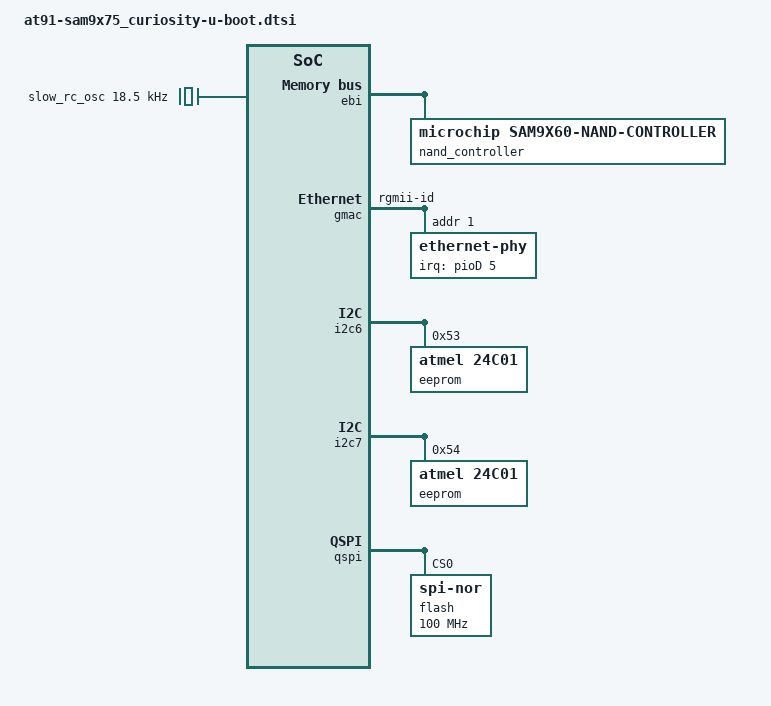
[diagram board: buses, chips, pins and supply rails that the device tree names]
// SPDX-License-Identifier: (GPL-2.0+ OR MIT)
/*
 * at91-sam9x75_curiosity-u-boot.dtsi - Device Tree file for SAM9X75
 * CURIOSITY board.
 *
 * Copyright (C) 2025 Microchip Technology Inc. and its subsidiaries
 *
 * Author: Manikandan Muralidharan <manikandan.m@microchip.com>
 */

/ {
	cpus {
		cpu@0 {
			clocks = <&pmc PMC_TYPE_CORE 25>, <&pmc PMC_TYPE_CORE 17>, <&main_xtal>;
			clock-names = "cpu", "master", "xtal";
		};
	};

	clocks {
		slow_rc_osc: slow_rc_osc {
			compatible = "fixed-clock";
			#clock-cells = <0>;
			clock-frequency = <18500>;
		};
	};

	ahb {
		bootph-all;

		ebi: ebi@10000000 {
			compatible = "microchip,sam9x60-ebi";
			#address-cells = <2>;
			#size-cells = <1>;
			atmel,smc = <&smc>;
			microchip,sfr = <&sfr>;
			reg = <0x10000000 0x60000000>;
			ranges = <0x0 0x0 0x10000000 0x10000000
			0x1 0x0 0x20000000 0x10000000
			0x2 0x0 0x30000000 0x10000000>;
			clocks = <&pmc PMC_TYPE_CORE 17>;
			pinctrl-names = "default";
			pinctrl-0 = <&pinctrl_ebi_addr_nand &pinctrl_ebi_data_0_7>;
			status = "okay";

			nand_controller: nand-controller {
				compatible = "microchip,sam9x60-nand-controller";
				ecc-engine = <&pmecc>;
				#address-cells = <2>;
				#size-cells = <1>;
				ranges;
				pinctrl-names = "default";
				pinctrl-0 = <&pinctrl_nand_oe_we &pinctrl_nand_cs &pinctrl_nand_rb>;
				status = "okay";

				nand@2 {
					reg = <0x2 0x0 0x800000>;
					rb-gpios = <&pioD 14 GPIO_ACTIVE_HIGH>;
					cs-gpios = <&pioD 4 GPIO_ACTIVE_HIGH>;
					nand-bus-width = <8>;
					nand-ecc-mode = "hw";
					nand-ecc-strength = <8>;
					nand-ecc-step-size = <512>;
					nand-on-flash-bbt;
					label = "atmel_nand";
				};
			};
		};
	};

	apb {
		bootph-all;

		pinctrl {
			bootph-all;
		};

		sfr: sfr@f8050000 {
			compatible = "microchip,sam9x60-sfr", "syscon";
			reg = <0xf8050000 0x100>;
		};
	};

	chosen {
		bootph-all;
	};
};

&clk32k {
	bootph-all;
	clocks = <&slow_rc_osc>, <&slow_xtal>;
};

&dbgu {
	bootph-all;
};

&gmac {
	compatible = "microchip,sam9x7-gem", "cdns,sama7g5-gem";
	phy-mode = "rgmii-id";
	#address-cells = <1>;
	#size-cells = <0>;
	pinctrl-names = "default";
	pinctrl-0 = <&pinctrl_gmac_rgmii_default>;
	magic-packet;
	status = "okay";

	ethernet-phy@1 {
		reg = <0x1>;
		interrupt-parent = <&pioD>;
		interrupts = <5 IRQ_TYPE_LEVEL_LOW>;
	};
};

&i2c6 {
	eeprom@53 {
		compatible = "atmel,24c01";
		reg = <0x53>;
		pagesize = <8>;
		status = "okay";
	};
};

&i2c7 {
	eeprom@54 {
		compatible = "atmel,24c01";
		reg = <0x54>;
		pagesize = <8>;
		status = "okay";
	};
};

&main_xtal {
	bootph-all;
};

&pinctrl {
	ebi {
		pinctrl_ebi_data_0_7: ebi-data-lsb-0 {
			atmel,pins =
				<AT91_PIOD 6 AT91_PERIPH_A (AT91_PINCTRL_NONE | AT91_PINCTRL_SLEWRATE_DIS)
				AT91_PIOD 7 AT91_PERIPH_A (AT91_PINCTRL_NONE | AT91_PINCTRL_SLEWRATE_DIS)
				AT91_PIOD 8 AT91_PERIPH_A (AT91_PINCTRL_NONE | AT91_PINCTRL_SLEWRATE_DIS)
				AT91_PIOD 9 AT91_PERIPH_A (AT91_PINCTRL_NONE | AT91_PINCTRL_SLEWRATE_DIS)
				AT91_PIOD 10 AT91_PERIPH_A (AT91_PINCTRL_NONE | AT91_PINCTRL_SLEWRATE_DIS)
				AT91_PIOD 11 AT91_PERIPH_A (AT91_PINCTRL_NONE | AT91_PINCTRL_SLEWRATE_DIS)
				AT91_PIOD 12 AT91_PERIPH_A (AT91_PINCTRL_NONE | AT91_PINCTRL_SLEWRATE_DIS)
				AT91_PIOD 13 AT91_PERIPH_A (AT91_PINCTRL_NONE | AT91_PINCTRL_SLEWRATE_DIS)>;
		};

		pinctrl_ebi_addr_nand: ebi-addr-0 {
			atmel,pins =
				<AT91_PIOD 2 AT91_PERIPH_A (AT91_PINCTRL_NONE | AT91_PINCTRL_SLEWRATE_DIS)
				AT91_PIOD 3 AT91_PERIPH_A (AT91_PINCTRL_NONE | AT91_PINCTRL_SLEWRATE_DIS)>;
		};
	};

	gmac {
		pinctrl_gmac_rgmii_default: gmac-rgmii-default {
			atmel,pins =
				<AT91_PIOB 13 AT91_PERIPH_A  AT91_PINCTRL_SLEWRATE_DIS                          /* ETH_TX0   */
				 AT91_PIOB 14 AT91_PERIPH_A  AT91_PINCTRL_SLEWRATE_DIS                          /* ETH_TX1   */
				 AT91_PIOB 4  AT91_PERIPH_A  AT91_PINCTRL_SLEWRATE_DIS                          /* ETH_TX2   */
				 AT91_PIOB 5  AT91_PERIPH_A  AT91_PINCTRL_SLEWRATE_DIS                          /* ETH_TX3   */
				 AT91_PIOB 7  AT91_PERIPH_A  AT91_PINCTRL_SLEWRATE_DIS                          /* ETH_TXCTL  */
				 AT91_PIOB 6  AT91_PERIPH_A (AT91_PINCTRL_PULL_UP | AT91_PINCTRL_SLEWRATE_DIS)  /* ETH_TXCK  */

				 AT91_PIOB 11 AT91_PERIPH_A  AT91_PINCTRL_SLEWRATE_DIS                          /* ETH_RX0   */
				 AT91_PIOB 12 AT91_PERIPH_A  AT91_PINCTRL_SLEWRATE_DIS                          /* ETH_RX1   */
				 AT91_PIOB 0  AT91_PERIPH_A  AT91_PINCTRL_SLEWRATE_DIS                          /* ETH_RX2   */
				 AT91_PIOB 1  AT91_PERIPH_A  AT91_PINCTRL_SLEWRATE_DIS                          /* ETH_RX3   */
				 AT91_PIOB 8  AT91_PERIPH_A  AT91_PINCTRL_SLEWRATE_DIS                          /* ETH_RXCK   */
				 AT91_PIOB 3  AT91_PERIPH_A  AT91_PINCTRL_SLEWRATE_DIS                          /* ETH_RXCTL */

				 AT91_PIOB 10 AT91_PERIPH_A  AT91_PINCTRL_NONE                                  /* ETH_MDC   */
				 AT91_PIOB 9  AT91_PERIPH_A  AT91_PINCTRL_NONE                                  /* ETH_MDIO  */

				 AT91_PIOB 2  AT91_PERIPH_A  AT91_PINCTRL_SLEWRATE_DIS                          /* ETH_125CK */
				 AT91_PIOD 5  AT91_PERIPH_GPIO  AT91_PINCTRL_NONE>;                             /* ETH_INT   */
		};
	};

	nand {
		pinctrl_nand_oe_we: nand-oe-we-0 {
			atmel,pins =
				<AT91_PIOD 0 AT91_PERIPH_A (AT91_PINCTRL_NONE | AT91_PINCTRL_SLEWRATE_DIS)
				 AT91_PIOD 1 AT91_PERIPH_A (AT91_PINCTRL_NONE | AT91_PINCTRL_SLEWRATE_DIS)>;
		};

		pinctrl_nand_rb: nand-rb-0 {
			atmel,pins =
				<AT91_PIOD 14 AT91_PERIPH_GPIO AT91_PINCTRL_PULL_UP>;
		};

		pinctrl_nand_cs: nand-cs-0 {
			atmel,pins =
				<AT91_PIOD 4 AT91_PERIPH_GPIO AT91_PINCTRL_PULL_UP>;
		};
	};

	qspi {
		pinctrl_qspi: pinctrl-qspi {
			atmel,pins =
				<AT91_PIOB 19 AT91_PERIPH_A AT91_PINCTRL_SLEWRATE_DIS
				 AT91_PIOB 20 AT91_PERIPH_A AT91_PINCTRL_SLEWRATE_DIS
				 AT91_PIOB 21 AT91_PERIPH_A (AT91_PINCTRL_PULL_UP | AT91_PINCTRL_SLEWRATE_DIS)
				 AT91_PIOB 22 AT91_PERIPH_A (AT91_PINCTRL_PULL_UP | AT91_PINCTRL_SLEWRATE_DIS)
				 AT91_PIOB 23 AT91_PERIPH_A (AT91_PINCTRL_PULL_UP | AT91_PINCTRL_SLEWRATE_DIS)
				 AT91_PIOB 24 AT91_PERIPH_A (AT91_PINCTRL_PULL_UP | AT91_PINCTRL_SLEWRATE_DIS)>;
		};
	};
};

&pinctrl_dbgu_default {
	bootph-all;
};

&pinctrl_sdmmc0_default {
	bootph-all;
};

&pioA {
	bootph-all;
};

&pioB {
	bootph-all;
};

&pit64b0 {
	bootph-all;
};

&pmc {
	bootph-all;
};

&pmecc {
	clocks = <&pmc PMC_TYPE_PERIPHERAL 48>;
};

&qspi {
	pinctrl-names = "default";
	pinctrl-0 = <&pinctrl_qspi>;
	status = "okay";

	flash@0 {
		#address-cells = <1>;
		#size-cells = <1>;
		compatible = "jedec,spi-nor";
		reg = <0>;
		spi-max-frequency = <100000000>;
		spi-tx-bus-width = <4>;
		spi-rx-bus-width = <4>;
		m25p,fast-read;

		at91bootstrap@0 {
			label = "qspi: at91bootstrap";
			reg = <0x0 0x40000>;
		};

		bootloader@40000 {
			label = "qspi: bootloader";
			reg = <0x40000 0xc0000>;
		};

		bootloaderenvred@100000 {
			label = "qspi: bootloader env redundant";
			reg = <0x100000 0x40000>;
		};

		bootloaderenv@140000 {
			label = "qspi: bootloader env";
			reg = <0x140000 0x40000>;
		};

		dtb@180000 {
			label = "qspi: device tree";
			reg = <0x180000 0x80000>;
		};

		kernel@200000 {
			label = "qspi: kernel";
			reg = <0x200000 0x600000>;
		};
	};
};

&sdmmc0 {
	bootph-all;
};

&slow_xtal {
	bootph-all;
};

&slow_rc_osc {
	bootph-all;
};
